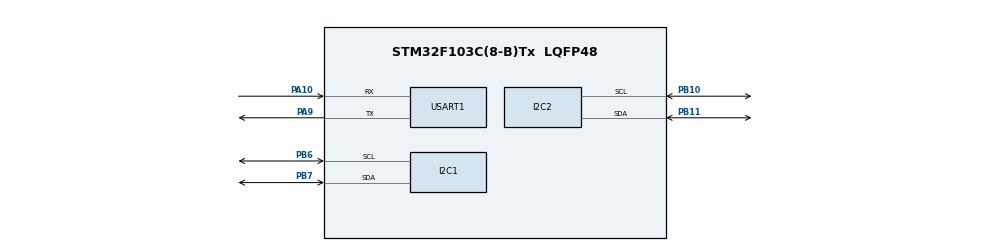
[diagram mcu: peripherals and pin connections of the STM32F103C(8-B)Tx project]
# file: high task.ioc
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Dma.Request0=USART1_RX
Dma.Request1=USART1_TX
Dma.USART1_RX.0.Direction=DMA_PERIPH_TO_MEMORY
Dma.USART1_RX.0.Instance=DMA1_Channel5
Dma.USART1_RX.0.MemDataAlignment=DMA_MDATAALIGN_BYTE
Dma.USART1_RX.0.MemInc=DMA_MINC_ENABLE
Dma.USART1_RX.0.Mode=DMA_NORMAL
Dma.USART1_RX.0.PeriphDataAlignment=DMA_PDATAALIGN_BYTE
Dma.USART1_RX.0.PeriphInc=DMA_PINC_DISABLE
Dma.USART1_RX.0.Priority=DMA_PRIORITY_LOW
Dma.USART1_TX.1.Direction=DMA_MEMORY_TO_PERIPH
Dma.USART1_TX.1.Instance=DMA1_Channel4
Dma.USART1_TX.1.MemDataAlignment=DMA_MDATAALIGN_BYTE
Dma.USART1_TX.1.MemInc=DMA_MINC_ENABLE
Dma.USART1_TX.1.Mode=DMA_NORMAL
Dma.USART1_TX.1.PeriphDataAlignment=DMA_PDATAALIGN_BYTE
Dma.USART1_TX.1.PeriphInc=DMA_PINC_DISABLE
Dma.USART1_TX.1.Priority=DMA_PRIORITY_LOW
FREERTOS.Tasks01=defaultTask,24,128,StartDefaultTask,Default,NULL,Dynamic,NULL,NULL
Mcu.Family=STM32F1
Mcu.Name=STM32F103C(8-B)Tx
Mcu.Package=LQFP48
NVIC.DMA1_Channel4_IRQn=true\:5\:0\:false\:false\:true\:true\:false\:true\:true
NVIC.DMA1_Channel5_IRQn=true\:5\:0\:false\:false\:true\:true\:false\:true\:true
NVIC.PriorityGroup=NVIC_PRIORITYGROUP_4
NVIC.TIM4_IRQn=true\:15\:0\:false\:false\:true\:false\:false\:true\:true
NVIC.TimeBase=TIM4_IRQn
NVIC.TimeBaseIP=TIM4
NVIC.USART1_IRQn=true\:5\:0\:false\:false\:true\:true\:false\:true\:true
PA10.Mode=Asynchronous
PA10.Signal=USART1_RX
PA13.Mode=Serial_Wire
PA13.Signal=SYS_JTMS-SWDIO
PA14.Mode=Serial_Wire
PA14.Signal=SYS_JTCK-SWCLK
PA9.Mode=Asynchronous
PA9.Signal=USART1_TX
PB10.Mode=I2C
PB10.Signal=I2C2_SCL
PB11.Mode=I2C
PB11.Signal=I2C2_SDA
PB6.Mode=I2C
PB6.Signal=I2C1_SCL
PB7.Mode=I2C
PB7.Signal=I2C1_SDA
PD0-OSC_IN.Mode=HSE-External-Oscillator
PD0-OSC_IN.Signal=RCC_OSC_IN
PD1-OSC_OUT.Mode=HSE-External-Oscillator
PD1-OSC_OUT.Signal=RCC_OSC_OUT
ProjectManager.HeapSize=0x200
ProjectManager.StackSize=0x400
ProjectManager.TargetToolchain=MDK-ARM V5.32
RCC.APB1Freq_Value=8000000
RCC.APB2Freq_Value=8000000
USART1.VirtualMode=VM_ASYNC
VP_FREERTOS_VS_CMSIS_V2.Mode=CMSIS_V2
VP_SYS_VS_tim4.Mode=TIM4
board=custom

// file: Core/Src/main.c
/* USER CODE BEGIN Header */
/**
  ******************************************************************************
  * @file           : main.c
  * @brief          : Main program body
  ******************************************************************************
  * @attention
  *
  * Copyright (c) 2026 STMicroelectronics.
  * All rights reserved.
  *
  * This software is licensed under terms that can be found in the LICENSE file
  * in the root directory of this software component.
  * If no LICENSE file comes with this software, it is provided AS-IS.
  *
  ******************************************************************************
  */
/* USER CODE END Header */
#include "main.h"
#include "cmsis_os.h"
#include "dma.h"
#include "i2c.h"
#include "usart.h"
#include "gpio.h"

/* USER CODE BEGIN Includes */
#include <queue.h>
#include <string.h>
#include <math.h>
#include <stdio.h>
#include <FreeRTOS.h>
#include "oled2.h"
#include "font.h"
/* USER CODE END Includes */

/* USER CODE BEGIN PD */
#define DEG2RAD 0.017453292519943295f
#define RAD2DEG 57.29577951308232f
typedef struct {
	float roll;
	float pitch;
	float yaw;
}attitude_angel;
/* USER CODE END PD */

/* USER CODE BEGIN PV */
static QueueHandle_t xQueue1;
uint8_t receiveData[50];
uint8_t transmitData[50];
uint16_t  rxLen;
volatile uint8_t rx_data_ready = 0;
uint8_t MPU_DATA[14]={0};
uint8_t StartAddress = 0x3B;
double ACCEL_XOUT =0.0,ACCEL_YOUT =0.0,ACCEL_ZOUT =0.0;
double GYRO_XOUT=0.0,GYRO_YOUT=0.0,GYRO_ZOUT=0.0;
/* USER CODE END PV */

void SystemClock_Config(void);
void MX_FREERTOS_Init(void);

/* USER CODE BEGIN 0 */
int fputc(int ch,FILE *f)
{
HAL_UART_Transmit (&huart1,(uint8_t *)&ch,1,0xFFFF );
return ch;
}
void ShowHex(uint8_t *buf,uint8_t len)
{
uint8_t i;
printf("hex = ");
for( i = 0; i < len; i++){
printf(" %02X",buf[i]);
}
printf("\r\n");
}
//#串口重定向
void MPU6050_INIT()
{
vTaskDelay(pdMS_TO_TICKS(1000));
uint8_t SendAddress = 0x6b;
uint8_t SendData = 0x00;
HAL_I2C_Mem_Write(&hi2c2,0xD0,SendAddress,1,&SendData,1,0xff);
SendAddress = 0x19;
SendData = 0x07;
HAL_I2C_Mem_Write(&hi2c2,0xD0,SendAddress,1,&SendData,1,0xff);
SendAddress = 0x1A;
SendData = 0x06;
HAL_I2C_Mem_Write(&hi2c2,0xD0,SendAddress,1,&SendData,1,0xff);
SendAddress = 0x1B;
SendData = 0x08;
HAL_I2C_Mem_Write(&hi2c2,0xD0,SendAddress,1,&SendData,1,0xff);
SendAddress = 0x1C;
SendData = 0x00;
HAL_I2C_Mem_Write(&hi2c2,0xD0,SendAddress,1,&SendData,1,0xff);
}
//#mpu6050初始化
uint8_t tx_busy = 0;
void HAL_UARTEx_RxEventCallback(UART_HandleTypeDef *huart, uint16_t Size)
{
  if(huart == &huart1 )
  {
		rxLen = Size;
    rx_data_ready = 1;
  }
}
//#串口回调中断，并且置标志位，在对应函数中处理数据
void HAL_UART_TxCpltCallback(UART_HandleTypeDef *huart)
{
    if(huart == &huart1)
    {
        tx_busy = 0;
    }
}
//#发送空闲回调函数，置标志位，提示可以发送
void oled(void *pvParameters)
{
	OLED_Init ();
	OLED_DisPlay_On();
	attitude_angel data;

     for(;;)
     {
      if (xQueueReceive(xQueue1, &data, portMAX_DELAY) == pdTRUE)
      {
	    OLED_NewFrame();

			OLED_PrintString(1, 5, "IMU Attitude",  &font16x16, OLED_COLOR_NORMAL);
	    OLED_PrintString(1, 19, "roll",  &font16x16, OLED_COLOR_NORMAL);
	    OLED_PrintString(1, 35, "yaw",  &font16x16, OLED_COLOR_NORMAL);
	    OLED_PrintString(1, 50, "pitch",  &font16x16, OLED_COLOR_NORMAL);

	    OLED_PrintFloat(48, 19,  data.roll  * RAD2DEG, 2, &font16x16, OLED_COLOR_NORMAL);
	    OLED_PrintFloat(48, 35, data.yaw   * RAD2DEG, 2, &font16x16, OLED_COLOR_NORMAL);
	    OLED_PrintFloat(48, 50, data.pitch * RAD2DEG, 2, &font16x16, OLED_COLOR_NORMAL);

	    OLED_ShowFrame();
	  }
	 }
}

void serial(void *pvParameters)
{
	HAL_UARTEx_ReceiveToIdle_DMA (&huart1,receiveData ,sizeof(receiveData ));

  for(;;)
	{
	if (rx_data_ready)
        {
            rx_data_ready = 0;
            memcpy(transmitData,receiveData,rxLen );
            HAL_UART_Transmit_DMA (&huart1,transmitData,rxLen );

            HAL_UARTEx_ReceiveToIdle_DMA(&huart1, receiveData, sizeof(receiveData));

	vTaskDelay(pdMS_TO_TICKS(100));
	}

}
	}

void mpu6050(void *pvParameters)
{
	  MPU6050_INIT() ;
	float roll,pitch,yaw;
  float roll_acc,pitch_acc;
  float alpha = 0.98f;
	float dt = 0.01f;

    for(;;)
	{
	HAL_I2C_Mem_Read(&hi2c2,0xD0,StartAddress,I2C_MEMADD_SIZE_8BIT,MPU_DATA,14,50);
float Temp = (MPU_DATA[6]<<8)|MPU_DATA[7];
if(Temp >32768)
Temp-=65536;
Temp = (36.53+ Temp/340);
short int ACCEL_XOUT1 = ((MPU_DATA[0]<<8)|MPU_DATA[1]);ACCEL_XOUT = (double)ACCEL_XOUT1/16384;
short int ACCEL_YOUT1 = ((MPU_DATA[2]<<8)|MPU_DATA[3]);ACCEL_YOUT = (double)ACCEL_YOUT1/16384;
short int ACCEL_ZOUT1 = ((MPU_DATA[4]<<8)|MPU_DATA[5]);ACCEL_ZOUT = (double)ACCEL_ZOUT1/16384;
short int GYRO_XOUT1 = ((MPU_DATA[8]<<8)|MPU_DATA[9]);GYRO_XOUT = (double)GYRO_XOUT1/65.5* DEG2RAD;
short int GYRO_YOUT1 = ((MPU_DATA[10]<<8)|MPU_DATA[11]);GYRO_YOUT = (double)GYRO_YOUT1/65.5* DEG2RAD;
short int GYRO_ZOUT1 = ((MPU_DATA[12]<<8)|MPU_DATA[13]);GYRO_ZOUT = (double)GYRO_ZOUT1/65.5* DEG2RAD;

  roll_acc  = atan2f(ACCEL_YOUT, ACCEL_ZOUT);
  pitch_acc = atan2f(-ACCEL_XOUT, sqrtf(ACCEL_YOUT*ACCEL_YOUT + ACCEL_ZOUT*ACCEL_ZOUT));

    roll  = alpha * (roll  + GYRO_XOUT * dt) + (1.0f - alpha) * roll_acc;
    pitch = alpha * (pitch + GYRO_YOUT * dt) + (1.0f - alpha) * pitch_acc;
    yaw   = yaw + GYRO_ZOUT * dt;

        attitude_angel my;
		my.pitch = pitch;
		my.roll = roll;
		my.yaw = yaw;

        xQueueSend(xQueue1, &my, 0);

vTaskDelay(pdMS_TO_TICKS(10));
	}

//#读mpu6050数据并且进行高位左移八位拼接,同时通过队列将包含数据的队列发送出去
}
/* USER CODE END 0 */

int main(void)
{

  /* USER CODE BEGIN 1 */
xQueue1 = xQueueCreate(10,sizeof(attitude_angel));
  /* USER CODE END 1 */

  /* MCU Configuration--------------------------------------------------------*/

  /* Reset of all peripherals, Initializes the Flash interface and the Systick. */
  HAL_Init();

  /* Configure the system clock */
  SystemClock_Config();

  /* Initialize all configured peripherals */
  MX_GPIO_Init();
  MX_DMA_Init();
  MX_I2C1_Init();
  MX_I2C2_Init();
  MX_USART1_UART_Init();
  /* USER CODE BEGIN 2 */

xTaskCreate (serial,"serial",128,NULL,1,NULL);
xTaskCreate (mpu6050,"imu",128,NULL,1,NULL);
xTaskCreate (oled,"oled",128,NULL,1,NULL);

vTaskStartScheduler ();
  /* USER CODE END 2 */

  /* Init scheduler */
  osKernelInitialize();  /* Call init function for freertos objects (in cmsis_os2.c) */
  MX_FREERTOS_Init();

  /* Start scheduler */
  osKernelStart();

  /* We should never get here as control is now taken by the scheduler */

  /* Infinite loop */
  while (1)
  {

  }
}

void SystemClock_Config(void)
{
  RCC_OscInitTypeDef RCC_OscInitStruct = {0};
  RCC_ClkInitTypeDef RCC_ClkInitStruct = {0};

  /** Initializes the RCC Oscillators according to the specified parameters
  * in the RCC_OscInitTypeDef structure.
  */
  RCC_OscInitStruct.OscillatorType = RCC_OSCILLATORTYPE_HSI;
  RCC_OscInitStruct.HSIState = RCC_HSI_ON;
  RCC_OscInitStruct.HSICalibrationValue = RCC_HSICALIBRATION_DEFAULT;
  RCC_OscInitStruct.PLL.PLLState = RCC_PLL_NONE;
  if (HAL_RCC_OscConfig(&RCC_OscInitStruct) != HAL_OK)
  {
    Error_Handler();
  }

  /** Initializes the CPU, AHB and APB buses clocks
  */
  RCC_ClkInitStruct.ClockType = RCC_CLOCKTYPE_HCLK|RCC_CLOCKTYPE_SYSCLK
                              |RCC_CLOCKTYPE_PCLK1|RCC_CLOCKTYPE_PCLK2;
  RCC_ClkInitStruct.SYSCLKSource = RCC_SYSCLKSOURCE_HSI;
  RCC_ClkInitStruct.AHBCLKDivider = RCC_SYSCLK_DIV1;
  RCC_ClkInitStruct.APB1CLKDivider = RCC_HCLK_DIV1;
  RCC_ClkInitStruct.APB2CLKDivider = RCC_HCLK_DIV1;

  if (HAL_RCC_ClockConfig(&RCC_ClkInitStruct, FLASH_LATENCY_0) != HAL_OK)
  {
    Error_Handler();
  }
}

void HAL_TIM_PeriodElapsedCallback(TIM_HandleTypeDef *htim)
{
  if (htim->Instance == TIM4)
  {
    HAL_IncTick();
  }
}

void Error_Handler(void)
{
  __disable_irq();
  while (1)
  {
  }
}
